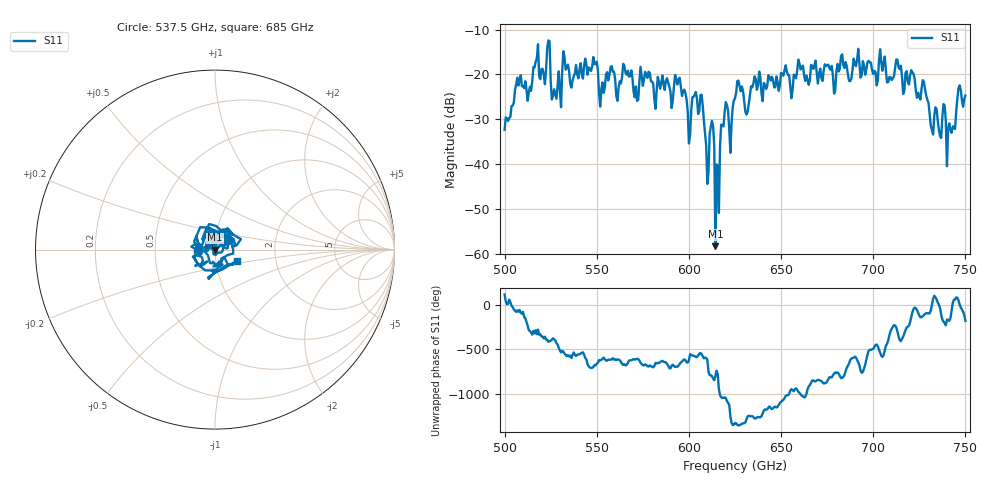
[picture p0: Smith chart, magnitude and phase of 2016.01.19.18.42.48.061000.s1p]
!Created with skrf (http://scikit-rf.org).
# GHz S RI R 50.0
!freq ReS11 ImS11
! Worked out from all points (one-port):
!   401 points, 500 GHz to 750 GHz, reference 50 ohm
!   lowest |S11| = -58.3 dB at 614.4 GHz (marker M1), VSWR 1.00, Z = 50 - j0.119 ohm
!   |S11| at or under -10 dB: start of sweep to end of sweep
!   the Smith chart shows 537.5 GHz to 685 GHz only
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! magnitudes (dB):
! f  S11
! 500 GHz  -32.4
! 507.5 GHz  -22.5
! 513.8 GHz  -22.7
! 516.9 GHz  -17.2
! 523.8 GHz  -12.4
! 526.9 GHz  -23.3
! 531.2 GHz  -19.2
! 548.8 GHz  -17.8
! 552.5 GHz  -23.2
! 558.1 GHz  -18.2
! 562.5 GHz  -21.5
! 593.8 GHz  -22.3
! 600 GHz  -35.4
! 606.9 GHz  -24.6
! 609.4 GHz  -35.9
! 612.5 GHz  -30.4
! 614.4 GHz  -58.3
! 615.6 GHz  -40.4
! 618.8 GHz  -31.6
! 623.1 GHz  -30.9
! 625 GHz  -25.4
! 656.2 GHz  -23.5
! 660.6 GHz  -18.9
! 687.5 GHz  -21.5
! 718.8 GHz  -21.6
! 741.2 GHz  -30.9
! 746.2 GHz  -23.2
! 750 GHz  -24.7
